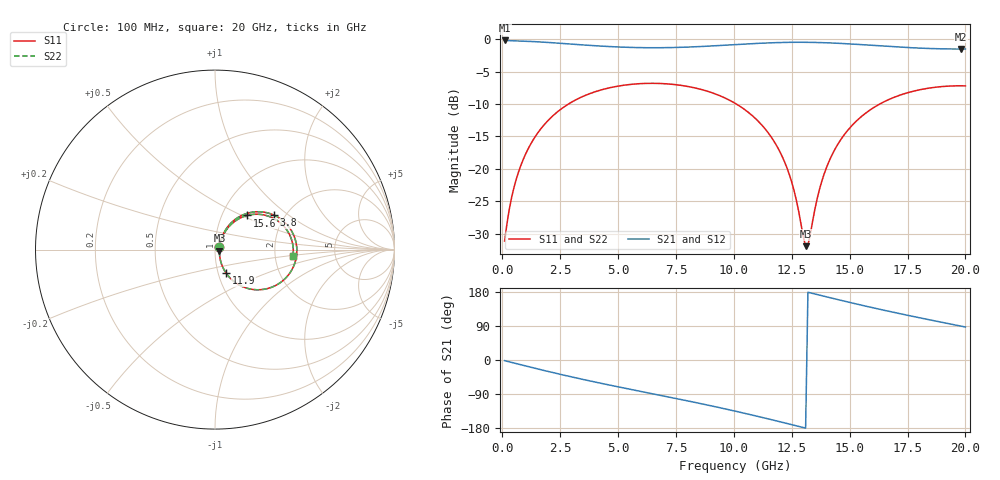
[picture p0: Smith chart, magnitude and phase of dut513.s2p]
! Touchstone file exported from HFSS 2026.1.0
!  File:  C:/ffzhzh/LocalFiles/Ansys_Project_Files/temp_train_TSV_RDL_513_1783109041_50312.aedt
!  Generated:  04:16:49 AM Jul  4, 2026
!  Design:  TSV_RDL
!  Project:  temp_train_TSV_RDL_513_1783109041_50312
! Variables:
!  h_bsmrdl = 3.51um
!  h_ox = 20um
!  h_rdl = 5um
!  h_sub = 52.89um
!  h_tmrdl = 4.46um
!  h_tsv = 52.89um
!  h_via = 3um
!  l_bsmrdl = 811.42um
!  l_sub = 4876.81um
!  l_tmrdl = 474.57um
!  m_sub = 200um
!  pitch = 41.55um
!  r_tsv = 2.49um
!  s_tmrdl = 10um
!  w_bsmrdl = 24.18um
!  w_sub = 500um
!  w_tmrdl = 23.91um
!  x_tsv_center1 = 486.525um
!  x_tsv_center2 = 1322.125um
!  x_tsv_center3 = 1820.605um
!  x_tsv_center4 = 2656.205um
!  x_tsv_center5 = 3154.685um
!  x_tsv_center6 = 3990.285um
# GHz S MA R 50.000000
! Terminal data exported
! Port[1] = TM_RDL1_1_T1
! Port[2] = TM_RDL5_1_T1
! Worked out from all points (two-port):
!   200 points, 100 MHz to 20 GHz, reference 50 ohm
!   highest |S21| = -0.21 dB at 100 MHz (marker M1); lowest = -1.5 dB at 19.8 GHz (marker M2)
!   |S21| within 3 dB of the highest: start of sweep to end of sweep
!   lowest |S11| = -31.9 dB at 13.1 GHz (marker M3), VSWR 1.05, Z = 52.5 - j0.599 ohm
!   |S11| at or under -10 dB: start of sweep to 2.861 GHz; 10.1 GHz to 16.31 GHz (6.201 GHz wide, 47 % of centre)
!   |S22| runs from -32.0 to -6.8 dB; largest |S21 - S12| = 1.6e-14
!   S11 on the Smith chart (normalised r, x): 100 MHz: 1.05, +0.03; 3.8 GHz: 1.76, +0.79; 11.9 GHz: 1.09, -0.29; 15.6 GHz: 1.31, +0.54; 20 GHz: 2.52, -0.21
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0.1  0.02779 29.8  0.9762 -1.7  0.9762 -1.7  0.02779 29.8
! Gamma 0 0 0 0
! Port Impedance 50 0 50 0
0.5  0.0713 59.5  0.9704 -7.9  0.9704 -7.9  0.0713 59.5
1.2  0.1522 60.4  0.9598 -18.6  0.9598 -18.6  0.1522 60.4
2.2  0.2579 50.0  0.9366 -33.4  0.9366 -33.4  0.2579 50.0
3.5  0.3628 33.9  0.9013 -51.5  0.9013 -51.5  0.3628 33.9
3.8  0.3812 30.2  0.8937 -55.5  0.8937 -55.5  0.3812 30.2
6.8  0.4551 -5.3  0.8581 -92.9  0.8581 -92.9  0.4551 -5.4
8.5  0.4132 -25.4  0.8753 -114.2  0.8753 -114.2  0.4132 -25.4
10.1  0.3166 -44.9  0.9077 -135.5  0.9077 -135.5  0.3166 -44.9
11.1  0.2283 -56.9  0.9282 -149.7  0.9282 -149.7  0.2283 -56.9
11.9  0.1452 -64.7  0.9401 -161.6  0.9401 -161.6  0.1452 -64.8
12.5  0.07895 -65.0  0.9448 -170.6  0.9448 -170.6  0.07892 -65.1
13.1  0.02536 -13.0  0.945 -179.7  0.945 -179.7  0.02525 -13.0
13.2  0.02586 12.0  0.9446 178.8  0.9446 178.8  0.02576 12.0
13.4  0.03926 44.0  0.9434 175.7  0.9434 175.7  0.03919 44.2
13.8  0.08046 59.6  0.9395 169.7  0.9395 169.7  0.08043 59.6
14.2  0.1238 60.2  0.9338 163.7  0.9338 163.7  0.1238 60.2
15.6  0.2609 46.8  0.9043 143.5  0.9043 143.5  0.2609 46.8
16.7  0.3426 33.7  0.8779 128.4  0.8779 128.4  0.3426 33.7
18.2  0.4126 16.1  0.8495 109.2  0.8495 109.2  0.4126 16.1
19.8  0.4365 -2.2  0.8382 89.5  0.8382 89.5  0.4365 -2.2
20  0.4359 -4.5  0.8384 87.0  0.8384 87.0  0.4359 -4.5
